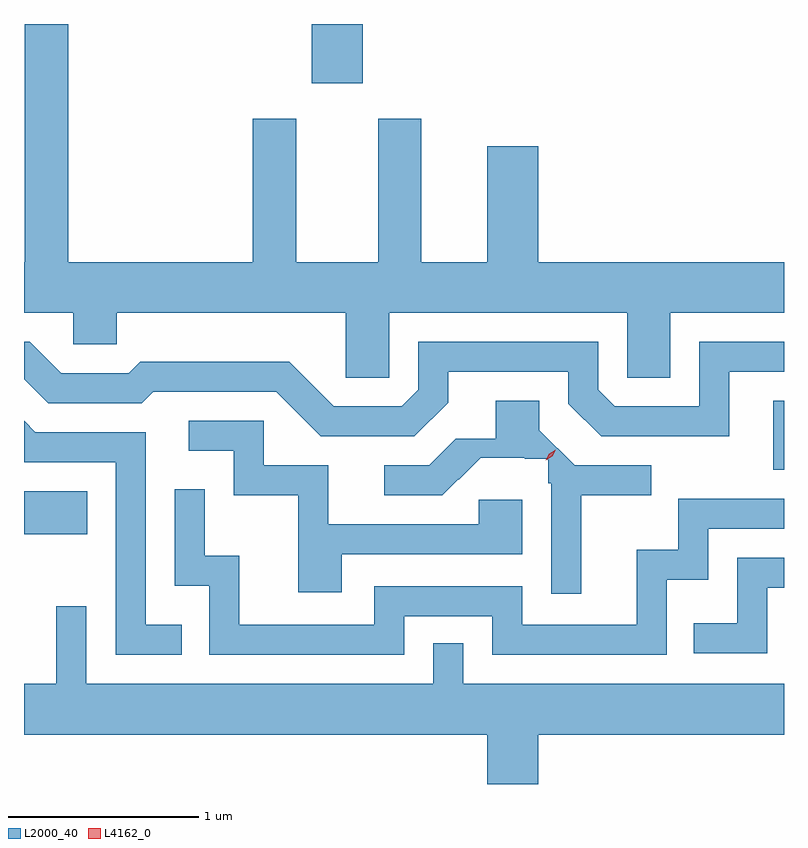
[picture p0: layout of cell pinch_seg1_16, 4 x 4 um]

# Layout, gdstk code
import gdstk
lib = gdstk.Library(unit=1e-6, precision=1e-09)
def R(c, l, rs):  # rectangles x0, y0, x1, y1
    for r in rs: c.add(gdstk.rectangle(r[:2], r[2:], *l))
def P(c, l, *ps):  # polygons
    for p in ps: c.add(gdstk.Polygon(p, *l))
L2000_40 = (2000, 40)
L4162_0 = (4162, 0)

pinch_seg1_16 = lib.new_cell('pinch_seg1_16')
R(pinch_seg1_16, L2000_40, [(1870.977,847.351,1871.309,847.579), (1874.921,847.691,1874.977,848.054), (1872.491,849.726,1872.759,850.037)])
P(pinch_seg1_16, L2000_40, [(1872.409,849.539),(1872.181,849.539),(1872.181,848.784),(1871.209,848.784),(1871.209,850.037),(1870.981,850.037),(1870.981,848.784),(1870.977,848.784),(1870.977,848.516),(1871.236,848.516),(1871.236,848.351),(1871.464,848.351),(1871.464,848.516),(1872.671,848.516),(1872.671,848.176),(1872.899,848.176),(1872.899,848.516),(1874.151,848.516),(1874.151,848.176),(1874.379,848.176),(1874.379,848.516),(1874.977,848.516),(1874.977,848.784),(1873.684,848.784),(1873.684,849.394),(1873.416,849.394),(1873.416,848.784),(1873.069,848.784),(1873.069,849.539),(1872.841,849.539),(1872.841,848.784),(1872.409,848.784)],
  [(1873.209,848.044),(1873.209,848.206),(1873.841,848.206),(1873.841,848.039),(1874.014,847.866),(1874.689,847.866),(1874.689,848.206),(1874.977,848.206),(1874.977,848.364),(1874.531,848.364),(1874.531,848.024),(1874.087,848.024),(1873.999,848.112),(1873.999,848.364),(1873.051,848.364),(1873.051,848.112),(1872.964,848.024),(1872.607,848.024),(1872.372,848.259),(1871.589,848.259),(1871.529,848.199),(1871.172,848.199),(1871.007,848.364),(1870.977,848.364),(1870.977,848.168),(1871.104,848.041),(1871.597,848.041),(1871.657,848.101),(1872.304,848.101),(1872.539,847.866),(1873.032,847.866)],
  [(1873.909,847.556),(1874.278,847.556),(1874.278,847.714),(1873.875,847.714),(1873.689,847.9),(1873.689,848.054),(1873.461,848.054),(1873.461,847.855),(1873.25,847.855),(1873.109,847.714),(1872.873,847.714),(1872.873,847.556),(1873.177,847.556),(1873.263,847.642),(1873.266,847.639),(1873.382,847.755),(1873.612,847.755),(1873.612,847.75),(1873.726,847.75),(1873.735,847.74),(1873.735,847.62),(1873.751,847.62),(1873.751,847.038),(1873.909,847.038)],
  [(1872.649,847.246),(1873.599,847.246),(1873.599,847.534),(1873.371,847.534),(1873.371,847.404),(1872.579,847.404),(1872.579,847.714),(1872.239,847.714),(1872.239,847.949),(1871.843,847.949),(1871.843,847.791),(1872.081,847.791),(1872.081,847.556),(1872.421,847.556),(1872.421,847.046),(1872.649,847.046)],
  [(1871.808,846.874),(1871.619,846.874),(1871.619,847.889),(1871.037,847.889),(1870.977,847.949),(1870.977,847.731),(1871.461,847.731),(1871.461,846.716),(1871.808,846.716)],
  [(1872.979,846.921),(1873.441,846.921),(1873.441,846.716),(1874.359,846.716),(1874.359,847.111),(1874.579,847.111),(1874.579,847.381),(1874.977,847.381),(1874.977,847.539),(1874.421,847.539),(1874.421,847.269),(1874.201,847.269),(1874.201,846.874),(1873.599,846.874),(1873.599,847.079),(1872.821,847.079),(1872.821,846.874),(1872.109,846.874),(1872.109,847.239),(1871.929,847.239),(1871.929,847.588),(1871.771,847.588),(1871.771,847.081),(1871.951,847.081),(1871.951,846.716),(1872.979,846.716)],
  [(1874.889,847.071),(1874.977,847.071),(1874.977,847.229),(1874.731,847.229),(1874.731,846.884),(1874.503,846.884),(1874.503,846.726),(1874.889,846.726)],
  [(1873.684,846.296),(1874.977,846.296),(1874.977,846.564),(1873.289,846.564),(1873.289,846.778),(1873.131,846.778),(1873.131,846.564),(1871.304,846.564),(1871.304,846.973),(1871.146,846.973),(1871.146,846.564),(1870.977,846.564),(1870.977,846.296),(1873.416,846.296),(1873.416,846.037),(1873.684,846.037)])
P(pinch_seg1_16, L4162_0, [(1873.722,847.742),(1873.722,847.742),(1873.742,847.776),(1873.775,847.797),(1873.776,847.797),(1873.776,847.797),(1873.756,847.763),(1873.723,847.742)],
  [(1873.728,847.746),(1873.728,847.747),(1873.743,847.775),(1873.772,847.791),(1873.773,847.791),(1873.773,847.79),(1873.758,847.762),(1873.729,847.746)])

lib.write_gds('pinch_seg1_16.gds')
